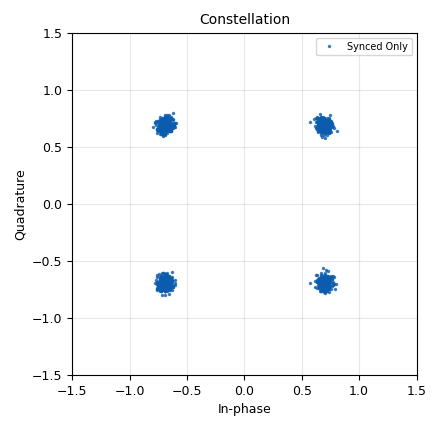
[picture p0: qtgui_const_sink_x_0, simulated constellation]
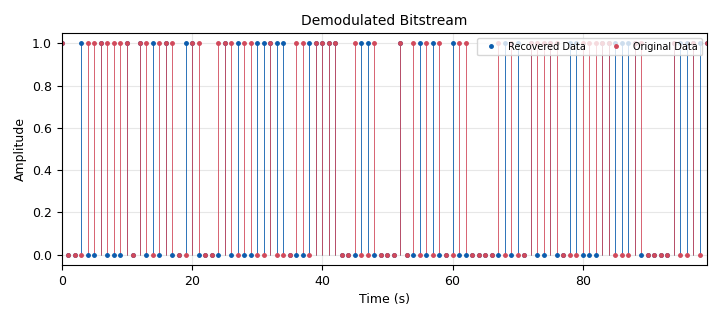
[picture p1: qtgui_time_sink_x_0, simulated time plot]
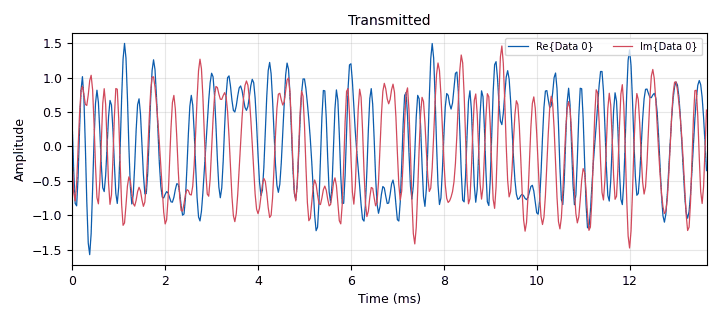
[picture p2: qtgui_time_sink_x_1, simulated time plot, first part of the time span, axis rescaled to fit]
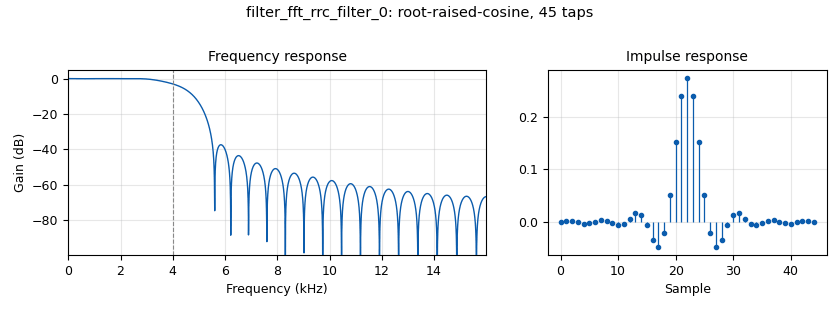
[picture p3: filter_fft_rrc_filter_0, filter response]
options:
  parameters:
    author: Barry Duggan, modified by Gary Schafer
    category: Custom
    generate_options: qt_gui
    id: qpsk_modem
    output_language: python
    title: QPSK Modulator / Demodulator (modem)
  states: {}

blocks:
- name: delay
  id: variable_qtgui_range
  parameters:
    gui_hint: 1,10,1,10
    label: Delay
    start: '0'
    step: '1'
    stop: '1000'
    value: '52'
  states: {}
- name: excess_bw
  id: variable
  parameters:
    value: '0.35'
  states: {}
- name: noise_voltage
  id: variable
  parameters:
    value: (1/ (10**(snr_db/10)))**0.5
  states: {}
- name: phase_bw
  id: variable
  parameters:
    value: '0.0628'
  states: {}
- name: qpsk
  id: variable_constellation_rect
  parameters:
    comment: |-
      Symbol Map: [0,1,3,2] <- This is Gray coding
      Constellation Points: [-0.707-0.707j, 0.707-0.707j, +0.707+0.707j, -0.707+0.707j]
    const_points: '[-0.707-0.707j, 0.707-0.707j, +0.707+0.707j, -0.707+0.707j]'
    imag_sect: '2'
    real_sect: '2'
    rot_sym: '4'
    sym_map: '[0, 1, 3, 2]'
    w_imag_sect: '1'
    w_real_sect: '1'
  states: {}
- name: samp_rate
  id: variable
  parameters:
    value: '32000'
  states: {}
- name: snr_db
  id: variable_qtgui_chooser
  parameters:
    label: SNR
    label0: 0db
    label1: 10db
    label2: 20db
    label3: 30db
    num_opts: '4'
    option0: '0'
    option1: '10'
    option2: '20'
    option3: '30'
    orient: Qt.QHBoxLayout
    type: int
    value: '30'
    widget: radio_buttons
  states: {}
- name: sps
  id: variable
  parameters:
    value: '4'
  states: {}
- name: analog_noise_source_x_0
  id: analog_noise_source_x
  parameters:
    amp: noise_voltage
    noise_type: analog.GR_GAUSSIAN
    seed: '0'
    type: complex
  states: {}
- name: analog_random_source_x_0
  id: analog_random_source_x
  parameters:
    max: '256'
    min: '0'
    num_samps: '30000'
    repeat: 'True'
    type: byte
  states: {}
- name: blocks_add_xx_0
  id: blocks_add_xx
  parameters:
    type: complex
  states: {}
- name: blocks_char_to_float_0_0
  id: blocks_char_to_float
  parameters:
    scale: '1'
  states: {}
- name: blocks_char_to_float_0_0_0
  id: blocks_char_to_float
  parameters:
    scale: '1'
  states: {}
- name: blocks_delay_0
  id: blocks_delay
  parameters:
    delay: int(delay)
    type: float
  states: {}
- name: blocks_file_sink_0
  id: blocks_file_sink
  parameters:
    file: trans1_snr0.dat
    type: complex
  states: {}
- name: blocks_file_sink_0_0
  id: blocks_file_sink
  parameters:
    file: trans2_snr0.dat
    type: complex
  states: {}
- name: blocks_file_sink_0_0_0
  id: blocks_file_sink
  parameters:
    file: trans5_snr0.dat
    type: complex
  states: {}
- name: blocks_file_sink_0_0_1
  id: blocks_file_sink
  parameters:
    file: trans8_snr0.dat
    type: complex
  states: {}
- name: blocks_file_sink_0_1
  id: blocks_file_sink
  parameters:
    file: trans3_snr0.dat
    type: complex
  states: {}
- name: blocks_file_sink_0_1_0
  id: blocks_file_sink
  parameters:
    file: trans6_snr0.dat
    type: complex
  states: {}
- name: blocks_file_sink_0_2
  id: blocks_file_sink
  parameters:
    file: trans4_snr0.dat
    type: complex
  states: {}
- name: blocks_file_sink_0_3
  id: blocks_file_sink
  parameters:
    file: trans7_snr0.dat
    type: complex
  states: {}
- name: blocks_unpack_k_bits_bb_0
  id: blocks_unpack_k_bits_bb
  parameters:
    k: '2'
  states: {}
- name: blocks_unpack_k_bits_bb_0_0
  id: blocks_unpack_k_bits_bb
  parameters:
    k: '8'
  states: {}
- name: channels_iqbal_gen_0
  id: channels_iqbal_gen
  parameters:
    mag: '0.2'
    mode: '0'
    phase: '-3'
  states: {}
- name: channels_iqbal_gen_0_0
  id: channels_iqbal_gen
  parameters:
    mag: '0.55'
    mode: '0'
    phase: '-1'
  states: {}
- name: channels_iqbal_gen_0_0_0
  id: channels_iqbal_gen
  parameters:
    mag: '1'
    mode: '0'
    phase: '+3'
  states: {}
- name: channels_iqbal_gen_0_1
  id: channels_iqbal_gen
  parameters:
    mag: '0.4'
    mode: '0'
    phase: '-2'
  states: {}
- name: channels_iqbal_gen_0_1_0
  id: channels_iqbal_gen
  parameters:
    mag: '0.85'
    mode: '0'
    phase: '1.8'
  states: {}
- name: channels_iqbal_gen_0_1_1
  id: channels_iqbal_gen
  parameters:
    mag: '1.4'
    mode: '0'
    phase: '4.5'
  states: {}
- name: channels_iqbal_gen_0_2
  id: channels_iqbal_gen
  parameters:
    mag: '0.7'
    mode: '0'
    phase: '0.8'
  states: {}
- name: channels_iqbal_gen_0_3
  id: channels_iqbal_gen
  parameters:
    mag: '1.2'
    mode: '0'
    phase: '-4.5'
  states: {}
- name: digital_constellation_decoder_cb_0
  id: digital_constellation_decoder_cb
  parameters:
    constellation: qpsk
  states: {}
- name: digital_constellation_modulator_0
  id: digital_constellation_modulator
  parameters:
    constellation: qpsk
    differential: 'True'
    excess_bw: '0.10'
    samples_per_symbol: sps
    truncate: 'True'
  states: {}
- name: digital_costas_loop_cc_0
  id: digital_costas_loop_cc
  parameters:
    order: '4'
    w: phase_bw
  states: {}
- name: digital_diff_decoder_bb_0
  id: digital_diff_decoder_bb
  parameters:
    coding: digital.DIFF_DIFFERENTIAL
    modulus: '4'
  states: {}
- name: digital_map_bb_0
  id: digital_map_bb
  parameters:
    comment: Gray coding
    map: '[0,1,3,2]'
  states: {}
- name: digital_symbol_sync_xx_0
  id: digital_symbol_sync_xx
  parameters:
    damping: '1.0'
    loop_bw: '0.045'
    max_dev: '1.5'
    osps: '1'
    resamp_type: digital.IR_MMSE_8TAP
    sps: sps
    ted_gain: '1.0'
    ted_type: digital.TED_SIGNAL_TIMES_SLOPE_ML
    type: cc
  states: {}
- name: filter_fft_rrc_filter_0
  id: filter_fft_rrc_filter
  parameters:
    alpha: excess_bw
    comment: |-
      Symbol Rate: samp_rate/sps
      Alpha: excess_bw
      Num Taps: 11*sps
    decim: '1'
    gain: '1'
    ntaps: 11*sps
    samp_rate: samp_rate
    sym_rate: samp_rate/sps
    type: ccc
  states: {}
- name: qtgui_const_sink_x_0
  id: qtgui_const_sink_x
  parameters:
    grid: 'True'
    gui_hint: 2,0,10,10
    label1: Synced Only
    name: Constellation
    size: '1024'
    type: complex
    xmax: '1.5'
    xmin: '-1.5'
    ymax: '1.5'
    ymin: '-1.5'
  states: {}
- name: qtgui_time_sink_x_0
  id: qtgui_time_sink_x
  parameters:
    autoscale: 'True'
    grid: 'True'
    gui_hint: 2,10,10,10
    label1: Recovered Data
    label2: Original Data
    marker1: '0'
    marker2: '0'
    name: Demodulated Bitstream
    nconnections: '2'
    size: '100'
    srate: '1'
    stemplot: 'True'
    type: float
    ymax: '1.5'
    ymin: '-0.5'
  states: {}
- name: qtgui_time_sink_x_1
  id: qtgui_time_sink_x
  parameters:
    name: '"Transmitted"'
    size: '1024'
    srate: samp_rate
    type: complex
  states: {}
- name: virtual_sink_0
  id: virtual_sink
  parameters:
    stream_id: filtered_signal
  states: {}
- name: virtual_sink_1
  id: virtual_sink
  parameters:
    stream_id: decoded_signal
  states: {}
- name: virtual_sink_2
  id: virtual_sink
  parameters:
    stream_id: t1
  states: {}
- name: virtual_source_0
  id: virtual_source
  parameters:
    stream_id: filtered_signal
  states: {}
- name: virtual_source_1
  id: virtual_source
  parameters:
    stream_id: decoded_signal
  states: {}
- name: virtual_source_2
  id: virtual_source
  parameters:
    stream_id: t1
  states: {}

connections:
- [analog_noise_source_x_0, '0', blocks_add_xx_0, '0']
- [analog_random_source_x_0, '0', digital_constellation_modulator_0, '0']
- [analog_random_source_x_0, '0', virtual_sink_2, '0']
- [blocks_add_xx_0, '0', channels_iqbal_gen_0, '0']
- [blocks_add_xx_0, '0', channels_iqbal_gen_0_0, '0']
- [blocks_add_xx_0, '0', channels_iqbal_gen_0_0_0, '0']
- [blocks_add_xx_0, '0', channels_iqbal_gen_0_1, '0']
- [blocks_add_xx_0, '0', channels_iqbal_gen_0_1_0, '0']
- [blocks_add_xx_0, '0', channels_iqbal_gen_0_1_1, '0']
- [blocks_add_xx_0, '0', channels_iqbal_gen_0_2, '0']
- [blocks_add_xx_0, '0', channels_iqbal_gen_0_3, '0']
- [blocks_add_xx_0, '0', qtgui_const_sink_x_0, '0']
- [blocks_char_to_float_0_0, '0', qtgui_time_sink_x_0, '0']
- [blocks_char_to_float_0_0_0, '0', blocks_delay_0, '0']
- [blocks_delay_0, '0', qtgui_time_sink_x_0, '1']
- [blocks_unpack_k_bits_bb_0, '0', blocks_char_to_float_0_0, '0']
- [blocks_unpack_k_bits_bb_0_0, '0', blocks_char_to_float_0_0_0, '0']
- [channels_iqbal_gen_0, '0', blocks_file_sink_0, '0']
- [channels_iqbal_gen_0_0, '0', blocks_file_sink_0_1, '0']
- [channels_iqbal_gen_0_0_0, '0', blocks_file_sink_0_1_0, '0']
- [channels_iqbal_gen_0_1, '0', blocks_file_sink_0_0, '0']
- [channels_iqbal_gen_0_1_0, '0', blocks_file_sink_0_0_0, '0']
- [channels_iqbal_gen_0_1_1, '0', blocks_file_sink_0_0_1, '0']
- [channels_iqbal_gen_0_2, '0', blocks_file_sink_0_2, '0']
- [channels_iqbal_gen_0_3, '0', blocks_file_sink_0_3, '0']
- [digital_constellation_decoder_cb_0, '0', virtual_sink_1, '0']
- [digital_constellation_modulator_0, '0', filter_fft_rrc_filter_0, '0']
- [digital_constellation_modulator_0, '0', qtgui_time_sink_x_1, '0']
- [digital_costas_loop_cc_0, '0', blocks_add_xx_0, '1']
- [digital_costas_loop_cc_0, '0', digital_constellation_decoder_cb_0, '0']
- [digital_diff_decoder_bb_0, '0', digital_map_bb_0, '0']
- [digital_map_bb_0, '0', blocks_unpack_k_bits_bb_0, '0']
- [digital_symbol_sync_xx_0, '0', digital_costas_loop_cc_0, '0']
- [filter_fft_rrc_filter_0, '0', virtual_sink_0, '0']
- [virtual_source_0, '0', digital_symbol_sync_xx_0, '0']
- [virtual_source_1, '0', digital_diff_decoder_bb_0, '0']
- [virtual_source_2, '0', blocks_unpack_k_bits_bb_0_0, '0']

metadata:
  file_format: 1
  grc_version: 3.10.12.0
